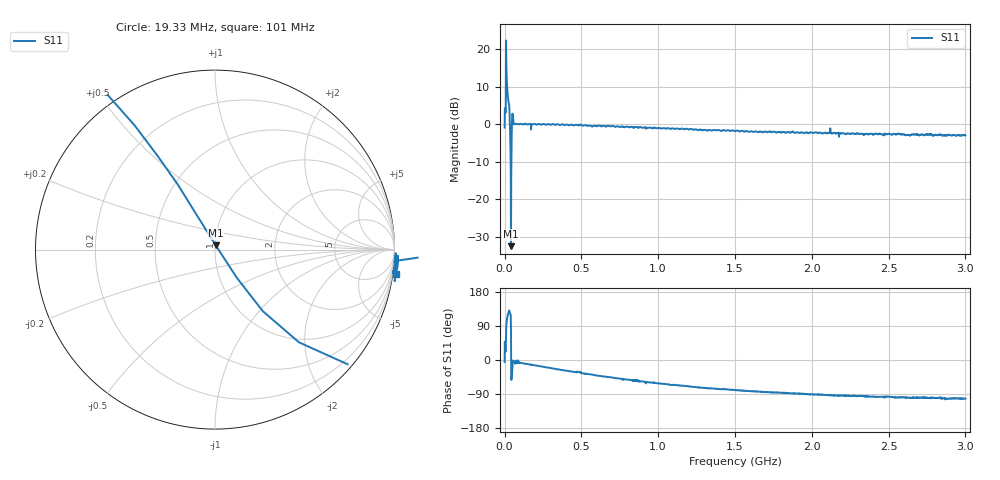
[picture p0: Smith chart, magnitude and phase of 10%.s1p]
# HZ S RI R 50
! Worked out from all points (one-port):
!   2020 points, 10 kHz to 3 GHz, reference 50 ohm
!   lowest |S11| = -32.5 dB at 41.61 MHz (marker M1), VSWR 1.05, Z = 50.4 + j2.35 ohm
!   |S11| at or under -10 dB: 39.28 MHz to 43.99 MHz (4.704 MHz wide, 11.3 % of centre)
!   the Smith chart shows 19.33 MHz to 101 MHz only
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10000  0.9032 -0.0844
2981758  1.348 0.9619
5953516  1.329 0.5388
1.486879e7  -1.039 3.547
1.635467e7  -1.094 2.992
2.378406e7  -1.162 1.752
2.526994e7  -1.166 1.631
2.675582e7  -1.173 1.531
2.82417e7  -1.187 1.451
2.972758e7  -1.197 1.381
3.269934e7  -0.78 1.032
3.56711e7  -0.447 0.6909
4.161461e7  0.00441 0.0234
4.755813e7  0.7387 -0.6388
5.350164e7  1.319 -0.0944
5.64734e7  1.129 -0.0448
5.944516e7  1.015 -0.0612
6.39028e7  1.005 -0.0852
6.836043e7  1.001 -0.1761
7.578983e7  1.018 -0.0344
3.759374e8  0.8965 -0.4486
7.503789e8  0.604 -0.6953
1.126306e9  0.3467 -0.8093
1.500748e9  0.1505 -0.7964
1.875189e9  0.0261 -0.8095
2.251117e9  -0.0616 -0.7448
2.625558e9  -0.1149 -0.714
3e9  -0.1475 -0.6971
